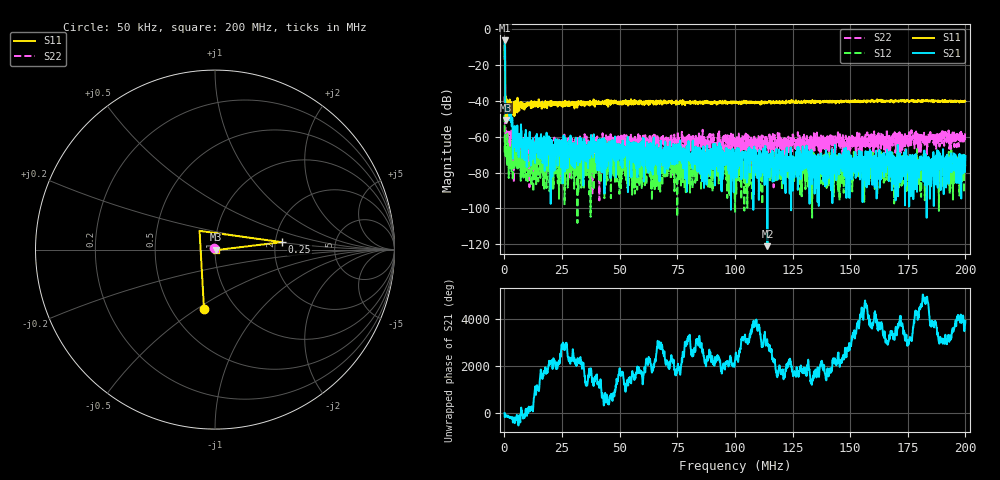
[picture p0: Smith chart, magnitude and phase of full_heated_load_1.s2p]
! 26-Feb-26 2:20:38 PM
! E:\VNA_MEASUREMENTS\HEATED_LOAD\FULL_HEATED_LOAD_1.S2P
! CHANNEL.1
! TR.MEASUREMENT
! CORRECTED.DATA
# GHZ S RI R 50.0
! FREQ.GHZ  S11RE  S11IM  S21RE  S21IM  S12RE  S12IM  S22RE  S22IM
!; PortSelection: Port_12
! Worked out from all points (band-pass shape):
!   2000 points, 50 kHz to 200 MHz, reference 50 ohm
!   highest |S21| = -6.49 dB at 50 kHz (marker M1); lowest = -121.0 dB at 114.1 MHz (marker M2)
!   |S21| within 3 dB of the highest: start of sweep to 79.07 kHz
!   lowest |S11| = -50.8 dB at 750.2 kHz (marker M3), VSWR 1.01, Z = 50.3 - j0.0626 ohm
!   |S11| at or under -10 dB: 56.35 kHz to 233.1 kHz (176.8 kHz wide, 122 % of centre); 254.8 kHz to end of sweep
!   |S22| runs from -95.5 to -37.6 dB; largest |S21 - S12| = 0.47
!   S11 on the Smith chart (normalised r, x): 50 kHz: 0.72, -0.53; 250 kHz: 2.18, +0.21; 200 MHz: 1.02, -0.01
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5e-05  -0.0613 -0.3293  0.4595 -0.1156  0.00451 0.00637  -0.00653 0.0115
0.00025005  0.3735 0.0415  0.1957 -0.2478  -0.000598 0.000938  0.00155 -0.00258
0.000750175  0.00282 -0.000623  -0.00434 -0.00141  0.000519 -0.000127  -0.000908 0.00111
0.001550375  0.00779 0.000928  -0.00557 -0.000104  -0.000565 -0.000246  0.00085 -0.000361
0.005951476  0.00821 -1.2e-06  0.00054 -0.000605  0.000227 0.000379  0.000558 0.00026
0.009852451  0.00815 -0.000941  0.000652 5.05e-05  0.000155 -0.000133  0.000227 5.1e-05
0.0208552  0.0082 0.00176  0.000153 0.00056  -0.000166 -0.000444  -8.18e-05 6.31e-05
0.03345835  0.0098 7.49e-05  0.000202 0.000104  5.3e-06 9.68e-05  0.000594 0.000172
0.03845961  0.00796 -0.000692  -0.0002 0.000221  0.000124 -1.68e-05  0.000381 -3.15e-05
0.04336083  0.00813 -0.000425  -2.57e-05 5.3e-06  -1.4e-06 -1.93e-05  0.000198 0.00026
0.05936483  0.00871 0.000684  4.76e-05 -0.000221  7.52e-05 2.38e-05  0.000856 4.37e-05
0.06676668  0.00865 -0.00128  8.12e-05 9.19e-05  2.15e-05 -5.11e-05  0.000637 9.03e-05
0.07526881  0.00842 -0.000975  0.000232 -0.000396  5.04e-05 -5.8e-05  0.00104 0.000484
0.100075  0.00833 -0.00178  1.28e-05 0.000102  -9e-07 -7.6e-06  0.000345 0.000423
0.1140785  0.00878 -0.00147  -8e-07 4e-07  -0.000213 3.4e-05  0.000682 0.000489
0.1252813  0.00853 -0.00265  -4.97e-05 -0.000148  0.000144 -0.000155  0.000663 0.000881
0.1283821  0.00887 -0.00216  -0.000129 5.9e-05  1.72e-05 1.34e-05  0.000509 0.000123
0.1303826  0.00846 -0.00253  -4.18e-05 -0.000325  2.92e-05 6.35e-05  9.8e-05 0.000563
0.1333833  0.00862 -0.00277  -2.1e-05 4.29e-05  4.71e-05 -3.49e-05  0.00036 0.000258
0.1666917  0.00877 -0.00432  -0.000165 4.8e-06  7.62e-05 0.000188  0.000479 0.000546
0.1772943  0.00836 -0.00486  0.000118 0.000148  -3.55e-05 0.000131  0.000642 0.000612
0.2  0.00828 -0.00467  0.000269 -9.82e-05  -8.39e-05 -0.000115  0.000632 0.00117
